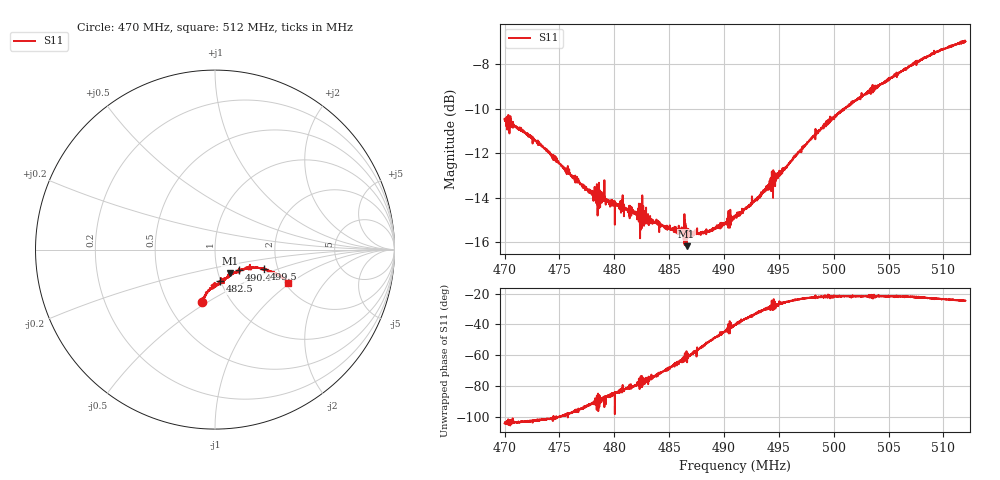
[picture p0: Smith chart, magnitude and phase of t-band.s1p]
! Calibrated averaged scanner-service zoom
# Hz S RI R 50
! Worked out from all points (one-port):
!   4001 points, 470 MHz to 512 MHz, reference 50 ohm
!   lowest |S11| = -16.2 dB at 486.6 MHz (marker M1), VSWR 1.37, Z = 56.9 - j15.3 ohm
!   |S11| at or under -10 dB: start of sweep to 501 MHz; 501.0041 MHz to 501.0079 MHz (3.799 kHz wide, 0.000758 % of centre)
!   S11 on the Smith chart (normalised r, x): 470 MHz: 0.73, -0.47; 482.5 MHz: 0.99, -0.36; 490.4 MHz: 1.28, -0.30; 499.5 MHz: 1.69, -0.39; 512 MHz: 2.07, -0.96
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4.7e8  -0.0747 -0.2903
4.70483e8  -0.0642 -0.2911
4.72814e8  -0.0577 -0.2618
4.7525e8  -0.0389 -0.2314
4.784525e8  0.00334 -0.1925
4.78925e8  0.00695 -0.1976
4.79555e8  0.0125 -0.193
4.805e8  0.0181 -0.187
4.816865e8  0.0306 -0.1833
4.820855e8  0.0343 -0.1751
4.823165e8  0.043 -0.175
4.82474e8  0.0281 -0.1738
4.827365e8  0.0358 -0.1814
4.82915e8  0.0449 -0.1736
4.833035e8  0.0462 -0.1692
4.8575e8  0.0708 -0.1538
4.865795e8  0.0836 -0.1309
4.877975e8  0.0944 -0.1365
4.88711e8  0.1065 -0.1304
4.9037e8  0.1361 -0.1134
4.91e8  0.1377 -0.1169
4.930475e8  0.1668 -0.1059
4.9625e8  0.2209 -0.1001
4.99463e8  0.2719 -0.1054
5.015e8  0.3013 -0.1183
5.0675e8  0.3633 -0.1452
5.09249e8  0.3886 -0.1658
5.12e8  0.4072 -0.1855
